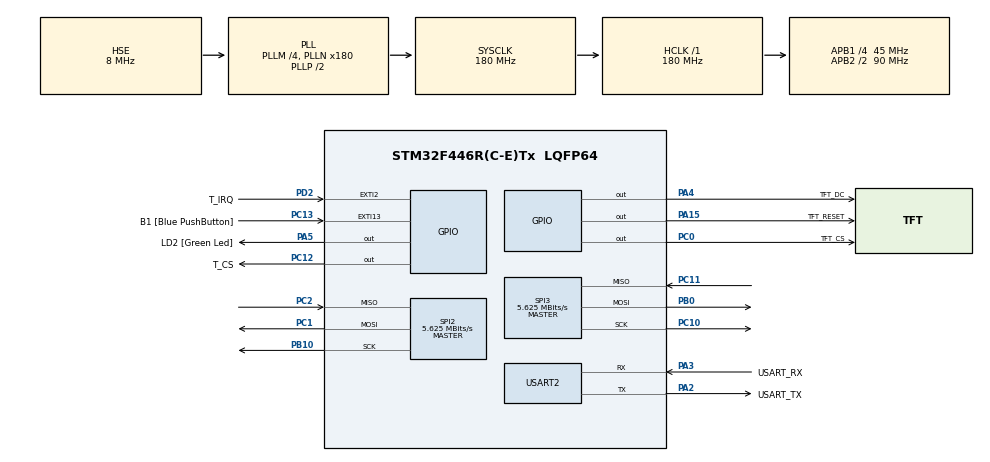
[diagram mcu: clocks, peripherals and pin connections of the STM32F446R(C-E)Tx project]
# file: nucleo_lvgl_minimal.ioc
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Dma.Request0=SPI2_TX
Dma.SPI2_TX.0.Direction=DMA_MEMORY_TO_PERIPH
Dma.SPI2_TX.0.FIFOMode=DMA_FIFOMODE_DISABLE
Dma.SPI2_TX.0.Instance=DMA1_Stream4
Dma.SPI2_TX.0.MemDataAlignment=DMA_MDATAALIGN_BYTE
Dma.SPI2_TX.0.MemInc=DMA_MINC_ENABLE
Dma.SPI2_TX.0.Mode=DMA_NORMAL
Dma.SPI2_TX.0.PeriphDataAlignment=DMA_PDATAALIGN_BYTE
Dma.SPI2_TX.0.PeriphInc=DMA_PINC_DISABLE
Dma.SPI2_TX.0.Priority=DMA_PRIORITY_LOW
FREERTOS.Tasks01=defaultTask,24,128,StartDefaultTask,Default,NULL,Dynamic,NULL,NULL
FREERTOS.configENABLE_FPU=1
FREERTOS.configTOTAL_HEAP_SIZE=32768
Mcu.Family=STM32F4
Mcu.Name=STM32F446R(C-E)Tx
Mcu.Package=LQFP64
NVIC.DMA1_Stream4_IRQn=true\:5\:0\:false\:false\:true\:true\:false\:true\:true
NVIC.EXTI15_10_IRQn=true\:5\:0\:false\:false\:true\:true\:true\:true\:true
NVIC.EXTI2_IRQn=true\:5\:0\:false\:false\:true\:true\:true\:true\:true
NVIC.PriorityGroup=NVIC_PRIORITYGROUP_4
NVIC.SPI2_IRQn=true\:5\:0\:false\:false\:true\:true\:true\:true\:true
NVIC.SPI3_IRQn=true\:5\:0\:false\:false\:true\:true\:true\:true\:true
NVIC.TIM6_DAC_IRQn=true\:15\:0\:false\:false\:true\:false\:false\:true\:true
NVIC.TimeBase=TIM6_DAC_IRQn
NVIC.TimeBaseIP=TIM6
PA13.GPIO_Label=TMS
PA13.Mode=Serial_Wire
PA13.Signal=SYS_JTMS-SWDIO
PA14.GPIO_Label=TCK
PA14.Mode=Serial_Wire
PA14.Signal=SYS_JTCK-SWCLK
PA15.GPIO_Label=TFT_RESET
PA15.Signal=GPIO_Output
PA2.GPIO_Label=USART_TX
PA2.Mode=Asynchronous
PA2.Signal=USART2_TX
PA3.GPIO_Label=USART_RX
PA3.Mode=Asynchronous
PA3.Signal=USART2_RX
PA4.GPIO_Label=TFT_DC
PA4.Signal=GPIO_Output
PA5.GPIO_Label=LD2 [Green Led]
PA5.Signal=GPIO_Output
PB0.Mode=Full_Duplex_Master
PB0.Signal=SPI3_MOSI
PB10.Mode=Full_Duplex_Master
PB10.Signal=SPI2_SCK
PB3.GPIO_Label=SWO
PB3.Signal=SYS_JTDO-SWO
PC0.GPIO_Label=TFT_CS
PC0.GPIO_Speed=GPIO_SPEED_FREQ_HIGH
PC0.Signal=GPIO_Output
PC1.Mode=Full_Duplex_Master
PC1.Signal=SPI2_MOSI
PC10.Mode=Full_Duplex_Master
PC10.Signal=SPI3_SCK
PC11.Mode=Full_Duplex_Master
PC11.Signal=SPI3_MISO
PC12.GPIO_Label=T_CS
PC12.GPIO_Speed=GPIO_SPEED_FREQ_HIGH
PC12.Signal=GPIO_Output
PC13.GPIO_Label=B1 [Blue PushButton]
PC13.GPIO_ModeDefaultEXTI=GPIO_MODE_IT_FALLING
PC13.Signal=GPXTI13
PC14-OSC32_IN.Mode=LSE-External-Oscillator
PC14-OSC32_IN.Signal=RCC_OSC32_IN
PC15-OSC32_OUT.Mode=LSE-External-Oscillator
PC15-OSC32_OUT.Signal=RCC_OSC32_OUT
PC2.Mode=Full_Duplex_Master
PC2.Signal=SPI2_MISO
PD2.GPIO_Label=T_IRQ
PD2.GPIO_ModeDefaultEXTI=GPIO_MODE_IT_FALLING
PD2.GPIO_PuPd=GPIO_PULLUP
PD2.Signal=GPXTI2
PH0-OSC_IN.Mode=HSE-External-Oscillator
PH0-OSC_IN.Signal=RCC_OSC_IN
PH1-OSC_OUT.Mode=HSE-External-Oscillator
PH1-OSC_OUT.Signal=RCC_OSC_OUT
ProjectManager.HeapSize=0x200
ProjectManager.StackSize=0x400
ProjectManager.TargetToolchain=Makefile
RCC.48MHZClocksFreq_Value=84000000
RCC.AHBFreq_Value=180000000
RCC.APB1CLKDivider=RCC_HCLK_DIV4
RCC.APB1Freq_Value=45000000
RCC.APB1TimFreq_Value=90000000
RCC.APB2CLKDivider=RCC_HCLK_DIV2
RCC.APB2Freq_Value=90000000
RCC.APB2TimFreq_Value=180000000
RCC.CortexFreq_Value=180000000
RCC.FLatency-AdvancedSettings=FLASH_LATENCY_5
RCC.HCLKFreq_Value=180000000
RCC.HSE_VALUE=8000000
RCC.HSI_VALUE=16000000
RCC.PLLM=4
RCC.PLLN=180
RCC.PLLSourceVirtual=RCC_PLLSOURCE_HSE
RCC.SYSCLKFreq_VALUE=180000000
RCC.SYSCLKSource=RCC_SYSCLKSOURCE_PLLCLK
RCC.USBFreq_Value=180000000
RCC.VCOOutputFreq_Value=360000000
SPI2.BaudRatePrescaler=SPI_BAUDRATEPRESCALER_8
SPI2.CalculateBaudRate=5.625 MBits/s
SPI2.Direction=SPI_DIRECTION_2LINES
SPI2.Mode=SPI_MODE_MASTER
SPI2.VirtualType=VM_MASTER
SPI3.BaudRatePrescaler=SPI_BAUDRATEPRESCALER_8
SPI3.CalculateBaudRate=5.625 MBits/s
SPI3.Direction=SPI_DIRECTION_2LINES
SPI3.Mode=SPI_MODE_MASTER
SPI3.VirtualType=VM_MASTER
USART2.VirtualMode=VM_ASYNC
VP_FREERTOS_VS_CMSIS_V2.Mode=CMSIS_V2
VP_SYS_VS_tim6.Mode=TIM6
board=NUCLEO-F446RE

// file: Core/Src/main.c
/* USER CODE BEGIN Header */
/**
  ******************************************************************************
  * @file           : main.c
  * @brief          : Main program body
  ******************************************************************************
  * @attention
  *
  * Copyright (c) 2026 STMicroelectronics.
  * All rights reserved.
  *
  * This software is licensed under terms that can be found in the LICENSE file
  * in the root directory of this software component.
  * If no LICENSE file comes with this software, it is provided AS-IS.
  *
  ******************************************************************************
  */
/* USER CODE END Header */
#include "main.h"
#include "cmsis_os.h"
#include "dma.h"
#include "spi.h"
#include "src/tick/lv_tick.h"
#include "usart.h"
#include "gpio.h"

/* USER CODE BEGIN Includes */
#include <stdio.h>
#include <stdint.h>
#include <string.h>

#include "ui/ui.h"
#include "lvgl.h"
#include "LCDController.h"
#include "TouchController.h"
#include "board_drivers.h"

/* USER CODE END Includes */

/* USER CODE BEGIN PD */
void load_gui(void);

/* USER CODE END PD */

/* USER CODE BEGIN PV */
lv_obj_t * time_label = NULL;
lv_obj_t * date_label = NULL;

uint32_t press_counter = 0;

/* USER CODE END PV */

void SystemClock_Config(void);
void MX_FREERTOS_Init(void);

/* USER CODE BEGIN 0 */
static void uart2_write(const char *msg)
{
  HAL_UART_Transmit(&huart2, (uint8_t *)msg, (uint16_t)strlen(msg), 1000);
}

/* USER CODE END 0 */

int main(void)
{

  /* MCU Configuration--------------------------------------------------------*/

  /* Reset of all peripherals, Initializes the Flash interface and the Systick. */
  HAL_Init();

  /* Configure the system clock */
  SystemClock_Config();

  /* Initialize all configured peripherals */
  MX_GPIO_Init();
  MX_DMA_Init();
  MX_USART2_UART_Init();
  MX_SPI2_Init();
  MX_SPI3_Init();
  /* USER CODE BEGIN 2 */

  uart2_write("hello\r\n");

  // blink 3 times to notify the Program is started
  for (int i = 0; i < 3; i++)
  {
    HAL_GPIO_WritePin(LD2_GPIO_Port,LD2_Pin,GPIO_PIN_SET);
    HAL_Delay(50);
    HAL_GPIO_WritePin(LD2_GPIO_Port,LD2_Pin,GPIO_PIN_RESET);
    HAL_Delay(100);
  }

  lv_init();
  lv_tick_set_cb(HAL_GetTick);

  HAL_Delay(100);

  lv_port_disp_init(Board_GetDisplayConfig());

  uart2_write("LVGL DISPLAY INIT Ok\r\n");

  TouchController_Init(Board_GetTouchConfig());

  //  load_gui();   // your application UI

  // start the UI generated by eez-studio
  ui_init();

  uart2_write("LVGL UI STARTED\r\n");

  /* USER CODE END 2 */

  /* Init scheduler */
  osKernelInitialize();  /* Call init function for freertos objects (in cmsis_os2.c) */
  MX_FREERTOS_Init();

  /* Start scheduler */
  osKernelStart();

  /* We should never get here as control is now taken by the scheduler */

  /* Infinite loop */
  /* USER CODE BEGIN WHILE */
  uint32_t cnt = 0;
  while (1)
  {

    /*  !!!  This will be executed only disabling the freertos scheduler, for debug purpose !!!*/

    // lv_lock();
    // ui_tick();
    // lv_unlock();

    TouchController_Poll();

    cnt++;
    if (cnt == 1000) {
      cnt = 0;
      // lv_lock();
      // Assign label created in load_gui (no eez-studio UI)
      // lv_label_set_text_fmt(time_label, "%d", HAL_GetTick());
      // lv_lock();
    }

    lv_task_handler();
    lv_tick_inc(5);
    HAL_Delay(5);

    //HAL_UART_Transmit(&huart2, (uint8_t*)"tick\r\n", 8, 1000);

    /* USER CODE END WHILE */

  }
}

void SystemClock_Config(void)
{
  RCC_OscInitTypeDef RCC_OscInitStruct = {0};
  RCC_ClkInitTypeDef RCC_ClkInitStruct = {0};

  /** Configure the main internal regulator output voltage
  */
  __HAL_RCC_PWR_CLK_ENABLE();
  __HAL_PWR_VOLTAGESCALING_CONFIG(PWR_REGULATOR_VOLTAGE_SCALE1);

  /** Initializes the RCC Oscillators according to the specified parameters
  * in the RCC_OscInitTypeDef structure.
  */
  RCC_OscInitStruct.OscillatorType = RCC_OSCILLATORTYPE_HSE;
  RCC_OscInitStruct.HSEState = RCC_HSE_ON;
  RCC_OscInitStruct.PLL.PLLState = RCC_PLL_ON;
  RCC_OscInitStruct.PLL.PLLSource = RCC_PLLSOURCE_HSE;
  RCC_OscInitStruct.PLL.PLLM = 4;
  RCC_OscInitStruct.PLL.PLLN = 180;
  RCC_OscInitStruct.PLL.PLLP = RCC_PLLP_DIV2;
  RCC_OscInitStruct.PLL.PLLQ = 2;
  RCC_OscInitStruct.PLL.PLLR = 2;
  if (HAL_RCC_OscConfig(&RCC_OscInitStruct) != HAL_OK)
  {
    Error_Handler();
  }

  /** Activate the Over-Drive mode
  */
  if (HAL_PWREx_EnableOverDrive() != HAL_OK)
  {
    Error_Handler();
  }

  /** Initializes the CPU, AHB and APB buses clocks
  */
  RCC_ClkInitStruct.ClockType = RCC_CLOCKTYPE_HCLK|RCC_CLOCKTYPE_SYSCLK
                              |RCC_CLOCKTYPE_PCLK1|RCC_CLOCKTYPE_PCLK2;
  RCC_ClkInitStruct.SYSCLKSource = RCC_SYSCLKSOURCE_PLLCLK;
  RCC_ClkInitStruct.AHBCLKDivider = RCC_SYSCLK_DIV1;
  RCC_ClkInitStruct.APB1CLKDivider = RCC_HCLK_DIV4;
  RCC_ClkInitStruct.APB2CLKDivider = RCC_HCLK_DIV2;

  if (HAL_RCC_ClockConfig(&RCC_ClkInitStruct, FLASH_LATENCY_5) != HAL_OK)
  {
    Error_Handler();
  }
}

/* USER CODE BEGIN 4 */

static void btn_event_cb(lv_event_t * e)
{
    if(lv_event_get_code(e) == LV_EVENT_CLICKED) {
      press_counter++;
      lv_label_set_text_fmt(date_label, "Clicked %d", (int)press_counter);
    }
}

void load_gui(void)
{
    /* Create a screen */
    lv_obj_t * scr = lv_scr_act();

    lv_obj_set_style_bg_color(lv_scr_act(), lv_color_hex(0xffffff), LV_PART_MAIN);

    /* ------------------ Custom Styles ------------------ */

    // Label Style
    static lv_style_t style;
    lv_style_init(&style);
    lv_style_set_text_font(&style, &lv_font_montserrat_24); // <--- you have to enable other font sizes in menuconfig

    // Button Style
    static lv_style_t style_btn;
    lv_style_init(&style_btn);

    lv_style_set_bg_color(&style_btn, lv_color_hex(0x00ff00));
    // lv_style_set_bg_grad_color(&style_btn, lv_color_hex(0x2980b9));
    // lv_style_set_bg_grad_dir(&style_btn, LV_GRAD_DIR_VER);

    lv_style_set_radius(&style_btn, 10);                         // bordi arrotondati
    lv_style_set_border_width(&style_btn, 2);
    lv_style_set_border_color(&style_btn, lv_color_hex(0x1f618d));

    lv_style_set_pad_all(&style_btn, 10);

    /* Button Pressed Style */
    static lv_style_t style_btn_pressed;
    lv_style_init(&style_btn_pressed);

    lv_style_set_bg_color(&style_btn_pressed, lv_color_hex(0x1f618d));
    lv_style_set_transform_width(&style_btn_pressed, -2);
    lv_style_set_transform_height(&style_btn_pressed, -2);

    /* Create a label on the screen */
    lv_obj_t * label = lv_label_create(scr);
    lv_label_set_text(label, "Hello, LVGL!");
    lv_obj_align(label, LV_ALIGN_CENTER, 0, -60);

    /* Create date label */
    date_label = lv_label_create(scr);
    lv_label_set_text(date_label, "STM32F446 MCU");
    lv_obj_align(date_label, LV_ALIGN_CENTER, 0, -20);

    /* Create time label */
    time_label = lv_label_create(scr);
    lv_label_set_text(time_label, "0");
    lv_obj_align(time_label, LV_ALIGN_CENTER, 0, 20);
    lv_obj_add_style(time_label, &style, 0);

    /* Create button */
    lv_obj_t * btn = lv_btn_create(scr);
    lv_obj_align(btn, LV_ALIGN_CENTER, 0, 80);

    lv_obj_add_style(btn, &style_btn, 0);
    lv_obj_add_style(btn, &style_btn_pressed, LV_STATE_PRESSED);

    // Button callback
    lv_obj_add_event_cb(btn, btn_event_cb, LV_EVENT_ALL, NULL);

    /* Button Label */
    lv_obj_t * btn_label = lv_label_create(btn);
    lv_label_set_text(btn_label, "Click");
    lv_obj_center(btn_label);
    lv_obj_add_style(btn_label, &style, 0);

}

int __io_putchar(int ch)
{
    HAL_UART_Transmit(&huart2, (uint8_t *)&ch, 1, HAL_MAX_DELAY);
    return ch;
}
/* USER CODE END 4 */

void HAL_TIM_PeriodElapsedCallback(TIM_HandleTypeDef *htim)
{
  if (htim->Instance == TIM6)
  {
    HAL_IncTick();
  }
}

void Error_Handler(void)
{
  __disable_irq();
  while (1)
  {
  }
}

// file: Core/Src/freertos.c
/* USER CODE BEGIN Header */
/**
  ******************************************************************************
  * File Name          : freertos.c
  * Description        : Code for freertos applications
  ******************************************************************************
  * @attention
  *
  * Copyright (c) 2026 STMicroelectronics.
  * All rights reserved.
  *
  * This software is licensed under terms that can be found in the LICENSE file
  * in the root directory of this software component.
  * If no LICENSE file comes with this software, it is provided AS-IS.
  *
  ******************************************************************************
  */
/* USER CODE END Header */

#include "FreeRTOS.h"
#include "task.h"
#include "main.h"
#include "ui_logic.h"
#include "cmsis_os.h"

/* USER CODE BEGIN Includes */
#include "ui/ui.h"
#include "ui/vars.h"
#include "lvgl.h"
#include "TouchController.h"

/* USER CODE END Includes */

/* USER CODE BEGIN PD */
#define LVGL_TASK_WAKE_FLAG      (1UL << 0)
#define LVGL_TASK_PERIOD_MS      5U

/* USER CODE END PD */

/* USER CODE BEGIN Variables */
osThreadId_t lvglTaskHandle;

/* USER CODE END Variables */
/* Definitions for defaultTask */
osThreadId_t defaultTaskHandle;
const osThreadAttr_t defaultTask_attributes = {
  .name = "defaultTask",
  .stack_size = 128 * 4,
  .priority = (osPriority_t) osPriorityNormal,
};

/* USER CODE BEGIN FunctionPrototypes */
void lvglTimerCallback(void *argument);
void startLvglTask(void *argument);

osStatus_t osThreadDetach(osThreadId_t thread_id);

// Stub for missing CMSIS-RTOS2 function not implemented by ST's FreeRTOS port

/* USER CODE END FunctionPrototypes */

void StartDefaultTask(void *argument);

void MX_FREERTOS_Init(void); /* (MISRA C 2004 rule 8.1) */

void MX_FREERTOS_Init(void) {
  /* USER CODE BEGIN Init */
  const osThreadAttr_t lvglTask_attributes = {
    .name       = "lvglTask",
    .stack_size = 2048 * 4,
    .priority   = osPriorityLow,
  };

  /* USER CODE END Init */

  /* USER CODE BEGIN RTOS_TIMERS */
  (void)lvglTimerCallback;

  /* USER CODE END RTOS_TIMERS */

  /* Create the thread(s) */
  /* creation of defaultTask */
  defaultTaskHandle = osThreadNew(StartDefaultTask, NULL, &defaultTask_attributes);

  /* USER CODE BEGIN RTOS_THREADS */
  lvglTaskHandle = osThreadNew(startLvglTask, NULL, &lvglTask_attributes);

  /* USER CODE END RTOS_THREADS */

}

void StartDefaultTask(void *argument)
{
  /* USER CODE BEGIN StartDefaultTask */
  (void)argument;
  /* Infinite loop */
  for(;;)
  {
    osDelay(1);
  }
  /* USER CODE END StartDefaultTask */
}

/* USER CODE BEGIN Application */

void lvglTimerCallback(void *argument) {
    (void)argument;
}

static bool button_was_pressed = false;
void startLvglTask(void *argument) {
    uint32_t flags;

    (void)argument;

    for (;;) {
        flags = osThreadFlagsWait(LVGL_TASK_WAKE_FLAG, osFlagsWaitAny, LVGL_TASK_PERIOD_MS);
        (void)flags;

        TouchController_Poll();
        lv_timer_handler();
        ui_tick();

        if (HAL_GPIO_ReadPin(GPIOC, GPIO_PIN_13) == GPIO_PIN_RESET)
        {
            if (!button_was_pressed) {
              button_was_pressed = true;
              blue_button_press_cnt++;
              set_var_blue_button_press_cnt(blue_button_press_cnt);
            }
        }
        else
        {
            button_was_pressed = false;
        }
    }
}

// osThreadDetach is not implemented in ST's FreeRTOS CMSIS-RTOS2 wrapper.
// LVGL calls it in lv_thread_delete() — provide a no-op stub.
osStatus_t osThreadDetach(osThreadId_t thread_id)
{
    (void)thread_id;
    return osOK;
}

/* USER CODE END Application */
